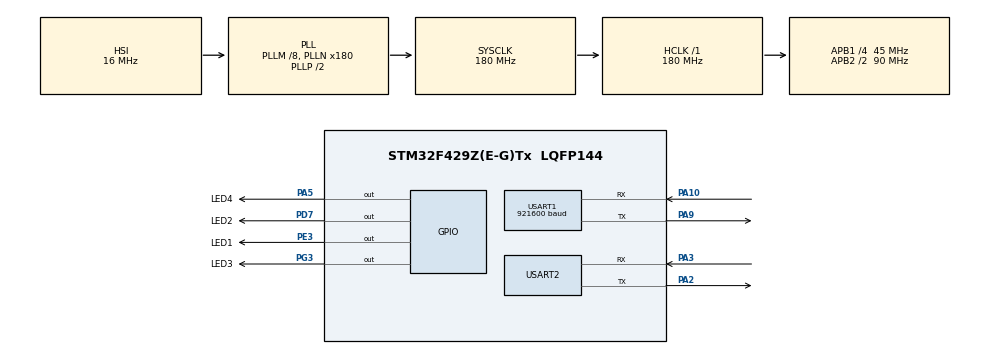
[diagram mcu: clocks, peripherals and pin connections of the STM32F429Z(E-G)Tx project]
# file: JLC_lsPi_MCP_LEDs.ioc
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Dma.Request0=USART2_RX
Dma.USART2_RX.0.Direction=DMA_PERIPH_TO_MEMORY
Dma.USART2_RX.0.FIFOMode=DMA_FIFOMODE_DISABLE
Dma.USART2_RX.0.Instance=DMA1_Stream5
Dma.USART2_RX.0.MemDataAlignment=DMA_MDATAALIGN_BYTE
Dma.USART2_RX.0.MemInc=DMA_MINC_ENABLE
Dma.USART2_RX.0.Mode=DMA_NORMAL
Dma.USART2_RX.0.PeriphDataAlignment=DMA_PDATAALIGN_BYTE
Dma.USART2_RX.0.PeriphInc=DMA_PINC_DISABLE
Dma.USART2_RX.0.Priority=DMA_PRIORITY_LOW
Mcu.Family=STM32F4
Mcu.Name=STM32F429Z(E-G)Tx
Mcu.Package=LQFP144
NVIC.DMA1_Stream5_IRQn=true\:0\:0\:false\:false\:true\:false\:true\:true
NVIC.PriorityGroup=NVIC_PRIORITYGROUP_4
NVIC.TIM1_UP_TIM10_IRQn=true\:15\:0\:false\:false\:true\:false\:true\:true
NVIC.TimeBase=TIM1_UP_TIM10_IRQn
NVIC.TimeBaseIP=TIM1
NVIC.USART2_IRQn=true\:0\:0\:false\:false\:true\:true\:true\:true
PA10.Mode=Asynchronous
PA10.Signal=USART1_RX
PA13.Mode=Serial_Wire
PA13.Signal=SYS_JTMS-SWDIO
PA14.Mode=Serial_Wire
PA14.Signal=SYS_JTCK-SWCLK
PA2.Mode=Asynchronous
PA2.Signal=USART2_TX
PA3.Mode=Asynchronous
PA3.Signal=USART2_RX
PA5.GPIO_Label=LED4
PA5.GPIO_PuPd=GPIO_PULLUP
PA5.GPIO_Speed=GPIO_SPEED_FREQ_MEDIUM
PA5.Signal=GPIO_Output
PA9.Mode=Asynchronous
PA9.Signal=USART1_TX
PD7.GPIO_Label=LED2
PD7.GPIO_PuPd=GPIO_PULLUP
PD7.GPIO_Speed=GPIO_SPEED_FREQ_MEDIUM
PD7.Signal=GPIO_Output
PE3.GPIO_Label=LED1
PE3.GPIO_ModeDefaultOutputPP=GPIO_MODE_OUTPUT_PP
PE3.GPIO_PuPd=GPIO_PULLUP
PE3.GPIO_Speed=GPIO_SPEED_FREQ_MEDIUM
PE3.Signal=GPIO_Output
PG3.GPIO_Label=LED3
PG3.GPIO_PuPd=GPIO_PULLUP
PG3.GPIO_Speed=GPIO_SPEED_FREQ_MEDIUM
PG3.Signal=GPIO_Output
PH0/OSC_IN.Mode=HSE-External-Oscillator
PH0/OSC_IN.Signal=RCC_OSC_IN
PH1/OSC_OUT.Mode=HSE-External-Oscillator
PH1/OSC_OUT.Signal=RCC_OSC_OUT
ProjectManager.HeapSize=0x200
ProjectManager.StackSize=0x400
ProjectManager.TargetToolchain=CMake
RCC.48MHZClocksFreq_Value=90000000
RCC.AHBFreq_Value=180000000
RCC.APB1CLKDivider=RCC_HCLK_DIV4
RCC.APB1Freq_Value=45000000
RCC.APB1TimFreq_Value=90000000
RCC.APB2CLKDivider=RCC_HCLK_DIV2
RCC.APB2Freq_Value=90000000
RCC.APB2TimFreq_Value=180000000
RCC.CortexFreq_Value=180000000
RCC.HCLKFreq_Value=180000000
RCC.HSE_VALUE=25000000
RCC.HSI_VALUE=16000000
RCC.LSE_VALUE=32768
RCC.PLLM=8
RCC.PLLN=180
RCC.SYSCLKFreq_VALUE=180000000
RCC.SYSCLKSource=RCC_SYSCLKSOURCE_PLLCLK
RCC.VCOOutputFreq_Value=360000000
USART1.BaudRate=921600
USART1.VirtualMode=VM_ASYNC
USART2.VirtualMode=VM_ASYNC
VP_SYS_VS_tim1.Mode=TIM1
board=custom

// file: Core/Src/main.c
/* USER CODE BEGIN Header */
/**
 ******************************************************************************
 * @file           : main.c
 * @brief          : Main program body
 ******************************************************************************
 * @attention
 *
 * Copyright (c) 2025 STMicroelectronics.
 * All rights reserved.
 *
 * This software is licensed under terms that can be found in the LICENSE file
 * in the root directory of this software component.
 * If no LICENSE file comes with this software, it is provided AS-IS.
 *
 ******************************************************************************
 */
/* USER CODE END Header */
#include "main.h"
#include "cJSON.h"
#include "dma.h"
#include "gpio.h"
#include "stm32f4xx_hal_dma.h"
#include "stm32f4xx_hal_uart.h"
#include "system_stm32f4xx.h"
#include "uartPort.h"
#include "usart.h"

/* USER CODE BEGIN Includes */
#include "emMCP.h"
#include "log.h"
#include <stdint.h>
/* USER CODE END Includes */

/* USER CODE BEGIN PD */
#define RXBUFFER_SIZE_MAX 256
/* USER CODE END PD */

/* USER CODE BEGIN PM */
emMCP_t emMCP;
emMCP_tool_t LED_Tools;
uint8_t rxBuffer[RXBUFFER_SIZE_MAX] = {0};
/* USER CODE END PM */

void SystemClock_Config(void);

/* USER CODE BEGIN 0 */
void HAL_UARTEx_RxEventCallback(UART_HandleTypeDef *huart, uint16_t Size)
{
  if (huart == &huart2)
  {
    uartPortRecvData((char *)rxBuffer, Size);
    HAL_UARTEx_ReceiveToIdle_DMA(&huart2, rxBuffer, RXBUFFER_SIZE_MAX);
    __HAL_DMA_DISABLE_IT(huart2.hdmarx, DMA_IT_HT);
  }
}

static void LED_ToolsRequestHandler(void *arg)
{
  cJSON *param = (cJSON *)arg;
  cJSON *led1 = cJSON_GetObjectItemCaseSensitive(param, "led1");
  cJSON *led2 = cJSON_GetObjectItemCaseSensitive(param, "led2");
  cJSON *led3 = cJSON_GetObjectItemCaseSensitive(param, "led3");
  cJSON *led4 = cJSON_GetObjectItemCaseSensitive(param, "led4");
  cJSON *led_all = cJSON_GetObjectItemCaseSensitive(param, "led_all");

  if (led1 != NULL)
  {
    HAL_GPIO_WritePin(LED1_GPIO_Port, LED1_Pin, led1->valueint ? GPIO_PIN_SET : GPIO_PIN_RESET);
  }
  if (led2 != NULL)
  {
    HAL_GPIO_WritePin(LED2_GPIO_Port, LED2_Pin, led2->valueint ? GPIO_PIN_SET : GPIO_PIN_RESET);
  }
  if (led3 != NULL)
  {
    HAL_GPIO_WritePin(LED3_GPIO_Port, LED3_Pin, led3->valueint ? GPIO_PIN_SET : GPIO_PIN_RESET);
  }
  if (led4 != NULL)
  {
    HAL_GPIO_WritePin(LED4_GPIO_Port, LED4_Pin, led4->valueint ? GPIO_PIN_SET : GPIO_PIN_RESET);
  }
  if (led_all != NULL)
  {
    HAL_GPIO_WritePin(LED1_GPIO_Port, LED1_Pin, led_all->valueint ? GPIO_PIN_SET : GPIO_PIN_RESET);
    HAL_GPIO_WritePin(LED2_GPIO_Port, LED2_Pin, led_all->valueint ? GPIO_PIN_SET : GPIO_PIN_RESET);
    HAL_GPIO_WritePin(LED3_GPIO_Port, LED3_Pin, led_all->valueint ? GPIO_PIN_SET : GPIO_PIN_RESET);
    HAL_GPIO_WritePin(LED4_GPIO_Port, LED4_Pin, led_all->valueint ? GPIO_PIN_SET : GPIO_PIN_RESET);
  }
  emMCP_ResponseValue(emMCP_CTRL_OK);
}
/* USER CODE END 0 */

int main(void)
{

  /* MCU Configuration--------------------------------------------------------*/

  /* Reset of all peripherals, Initializes the Flash interface and the Systick.
   */
  HAL_Init();

  /* Configure the system clock */
  SystemClock_Config();

  /* USER CODE BEGIN SysInit */
  SystemInit();
  /* USER CODE END SysInit */

  /* Initialize all configured peripherals */
  MX_GPIO_Init();
  MX_DMA_Init();
  MX_USART1_UART_Init();
  MX_USART2_UART_Init();
  /* USER CODE BEGIN 2 */
  HAL_UARTEx_ReceiveToIdle_DMA(&huart2, rxBuffer, RXBUFFER_SIZE_MAX);
  __HAL_DMA_DISABLE_IT(huart2.hdmarx, DMA_IT_HT);
  emMCP_Init(&emMCP); // Initialize MCP
  LED_Tools.name = "开发板LED";
  LED_Tools.description = "用于控制开发板的4颗LED灯";
  LED_Tools.inputSchema.properties[0].name = "led1";
  LED_Tools.inputSchema.properties[0].description = "控制LED1的亮灭,false为灭,true为亮";
  LED_Tools.inputSchema.properties[0].type = MCP_SERVER_TOOL_TYPE_BOOLEAN;
  LED_Tools.inputSchema.properties[1].name = "led2";
  LED_Tools.inputSchema.properties[1].description = "控制LED2的亮灭,false为灭,true为亮";
  LED_Tools.inputSchema.properties[1].type = MCP_SERVER_TOOL_TYPE_BOOLEAN;
  LED_Tools.inputSchema.properties[2].name = "led3";
  LED_Tools.inputSchema.properties[2].description = "控制LED3的亮灭,false为灭,true为亮";
  LED_Tools.inputSchema.properties[2].type = MCP_SERVER_TOOL_TYPE_BOOLEAN;
  LED_Tools.inputSchema.properties[3].name = "led4";
  LED_Tools.inputSchema.properties[3].description = "控制LED4的亮灭,false为灭,true为亮";
  LED_Tools.inputSchema.properties[3].type = MCP_SERVER_TOOL_TYPE_BOOLEAN;
  LED_Tools.inputSchema.properties[4].name = "led_all";
  LED_Tools.inputSchema.properties[4].description = "控制所有LED的亮灭,false为灭,true为亮";
  LED_Tools.inputSchema.properties[4].type = MCP_SERVER_TOOL_TYPE_BOOLEAN;
  LED_Tools.setRequestHandler = LED_ToolsRequestHandler;
  emMCP_AddToolToToolList(&LED_Tools);
  emMCP_RegistrationTools();
  /* USER CODE END 2 */

  /* Infinite loop */
  while (1)
  {
    emMCP_TickHandle(100);
  }
}

void SystemClock_Config(void)
{
  RCC_OscInitTypeDef RCC_OscInitStruct = {0};
  RCC_ClkInitTypeDef RCC_ClkInitStruct = {0};

  /** Configure the main internal regulator output voltage
   */
  __HAL_RCC_PWR_CLK_ENABLE();
  __HAL_PWR_VOLTAGESCALING_CONFIG(PWR_REGULATOR_VOLTAGE_SCALE1);

  /** Initializes the RCC Oscillators according to the specified parameters
   * in the RCC_OscInitTypeDef structure.
   */
  RCC_OscInitStruct.OscillatorType = RCC_OSCILLATORTYPE_HSI;
  RCC_OscInitStruct.HSIState = RCC_HSI_ON;
  RCC_OscInitStruct.HSICalibrationValue = RCC_HSICALIBRATION_DEFAULT;
  RCC_OscInitStruct.PLL.PLLState = RCC_PLL_ON;
  RCC_OscInitStruct.PLL.PLLSource = RCC_PLLSOURCE_HSI;
  RCC_OscInitStruct.PLL.PLLM = 8;
  RCC_OscInitStruct.PLL.PLLN = 180;
  RCC_OscInitStruct.PLL.PLLP = RCC_PLLP_DIV2;
  RCC_OscInitStruct.PLL.PLLQ = 4;
  if (HAL_RCC_OscConfig(&RCC_OscInitStruct) != HAL_OK)
  {
    Error_Handler();
  }

  /** Activate the Over-Drive mode
   */
  if (HAL_PWREx_EnableOverDrive() != HAL_OK)
  {
    Error_Handler();
  }

  /** Initializes the CPU, AHB and APB buses clocks
   */
  RCC_ClkInitStruct.ClockType = RCC_CLOCKTYPE_HCLK | RCC_CLOCKTYPE_SYSCLK |
                                RCC_CLOCKTYPE_PCLK1 | RCC_CLOCKTYPE_PCLK2;
  RCC_ClkInitStruct.SYSCLKSource = RCC_SYSCLKSOURCE_PLLCLK;
  RCC_ClkInitStruct.AHBCLKDivider = RCC_SYSCLK_DIV1;
  RCC_ClkInitStruct.APB1CLKDivider = RCC_HCLK_DIV4;
  RCC_ClkInitStruct.APB2CLKDivider = RCC_HCLK_DIV2;

  if (HAL_RCC_ClockConfig(&RCC_ClkInitStruct, FLASH_LATENCY_5) != HAL_OK)
  {
    Error_Handler();
  }
}

void HAL_TIM_PeriodElapsedCallback(TIM_HandleTypeDef *htim)
{
  if (htim->Instance == TIM1)
  {
    HAL_IncTick();
  }
}

void Error_Handler(void)
{
  __disable_irq();
  while (1)
  {
  }
}
#ifdef USE_FULL_ASSERT
/**
 * @brief  Reports the name of the source file and the source line number
 *         where the assert_param error has occurred.
 * @param  file: pointer to the source file name
 * @param  line: assert_param error line source number
 * @retval None
 */
void assert_failed(uint8_t *file, uint32_t line)
{
  /* USER CODE BEGIN 6 */
  /* User can add his own implementation to report the file name and line
     number, ex: printf("Wrong parameters value: file %s on line %d\r\n", file,
     line) */
  /* USER CODE END 6 */
}
#endif /* USE_FULL_ASSERT */
